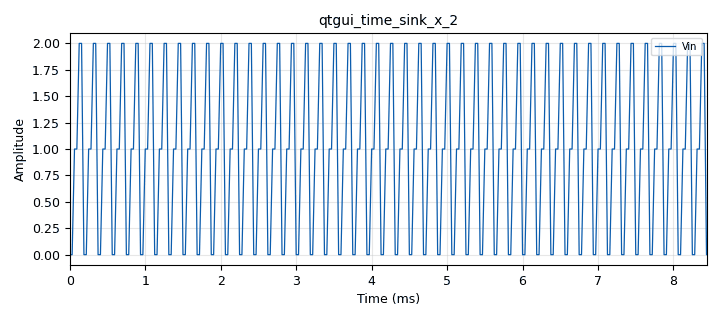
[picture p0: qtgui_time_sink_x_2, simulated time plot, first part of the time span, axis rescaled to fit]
options:
  parameters:
    generate_options: qt_gui
    id: acumulador
    output_language: python
    title: Not titled yet
  states: {}

blocks:
- name: samp_rate
  id: variable
  parameters:
    value: '32000'
  states: {}
- name: blocks_vector_source_x_0
  id: blocks_vector_source_x
  parameters:
    repeat: 'True'
    type: float
    vector: (1,1,1,1,-1,-1,-1,-1)
  states: {state: disabled}
- name: blocks_vector_source_x_1
  id: blocks_vector_source_x
  parameters:
    repeat: 'True'
    type: float
    vector: (1,1,1,1,-0,0,0,0)
  states: {state: disabled}
- name: blocks_vector_source_x_2
  id: blocks_vector_source_x
  parameters:
    repeat: 'True'
    type: float
    vector: (1,1,2,2,0,0)
  states: {}
- name: epy_block_0
  id: epy_block
  parameters:
    _source_code: "\n\nimport numpy as np\nfrom gnuradio import gr\nclass blk (gr. sync_block ):\n    def __init__ ( self ) : \n        gr. sync_block . __init__ (\n            self ,\n            name =\"e_Acum\",\n            in_sig =[ np. float32 ],\n            out_sig =[ np. float32 ]\n        )\n\n    def work (self , input_items , output_items ):\n        x = input_items [0] \n        y0 = output_items [0] \n        y0 [:] = np. cumsum (x)\n        return len (y0)"
  states: {state: disabled}
- name: epy_block_1
  id: epy_block
  parameters:
    _source_code: "import numpy as np\nfrom gnuradio import gr\n\nclass blk(gr.sync_block):\n    def __init__(self):  # Solo argumentos por defecto aquí\n        gr.sync_block.__init__(\n            self,\n            name=\"e_Diff\",  # Aparecerá en GRC\n            in_sig=[np.float32],\n            out_sig=[np.float32]\n        )\n        self.acum_anterior = 0  # Estado interno para acumulación\n\n    def work(self, input_items, output_items):\n        x = input_items[0]  # Señal de entrada\n        y0 = output_items[0]  # Señal de salida diferenciada\n        \n        diff = np.diff(np.insert(x, 0, self.acum_anterior))\n        self.acum_anterior = x[-1]  # Guardar último valor para la siguiente iteración\n        \n        y0[:len(diff)] = diff  # Copiar resultado a la salida\n        return len(diff)\n\n\n"
  states: {state: disabled}
- name: epy_block_2
  id: epy_block
  parameters:
    _source_code: |-
      import numpy as np
      from gnuradio import gr

      class blk (gr. sync_block ):

          def __init__ ( self ) : # only default arguments here
              gr. sync_block . __init__ (
                  self ,
                  name ="Promedios_de_tiempos ", # will show up in GRC
                  in_sig =[ np. float32 ],
                  out_sig =[ np. float32 ,np. float32 ,np. float32 ,np. float32 ,np. float32 ]
              )
              self . acum_anterior = 0
              self . Ntotales = 0
              self . acum_anterior1 = 0
              self . acum_anterior2 = 0
          def work (self , input_items , output_items ):
              x = input_items [0] # Senial de entrada .
              y0 = output_items [0] # Promedio de la senial
              y1 = output_items [1] # Media de la senial
              y2 = output_items [2] # RMS de la senial
              y3 = output_items [3] # Potencia promedio de la senial
              y4 = output_items [4] # Desviacion estandar de la senial
          
              # Calculo del promedio
              N = len (x)
              self . Ntotales = self . Ntotales + N
              acumulado = self . acum_anterior + np. cumsum (x)
              self . acum_anterior = acumulado [N -1]
              y0 [:]= acumulado / self . Ntotales
              
              # Calculo de la media cuadratica
              x2=np. multiply (x,x)
              acumulado1 = self . acum_anterior1 + np. cumsum (x2)
              self . acum_anterior1 = acumulado [N -1]
              y1 [:] = acumulado1 / self . Ntotales
              
              # Calculo de la RMS
              y2 [:] = np. sqrt (y1)
              
              # Calculo de la potencia promedio
              y3 [:] = np. multiply (y2 ,y2)
              
              # Calculo de la desviacion estandar
              x3 = np. multiply (x-y0 ,x-y0)
              acumulado2 = self . acum_anterior2 + np. cumsum (x3)
              self . acum_anterior2 = acumulado2 [N -1]
              y4 [:] = np. sqrt ( acumulado2 / self . Ntotales )

              return len (x)
  states: {}
- name: qtgui_number_sink_0_0
  id: qtgui_number_sink
  parameters:
    graph_type: qtgui.NUM_GRAPH_HORIZ
    name: Media
    type: float
  states: {}
- name: qtgui_number_sink_0_1
  id: qtgui_number_sink
  parameters:
    graph_type: qtgui.NUM_GRAPH_HORIZ
    name: Media cuadratica
    type: float
  states: {}
- name: qtgui_number_sink_0_2
  id: qtgui_number_sink
  parameters:
    graph_type: qtgui.NUM_GRAPH_HORIZ
    name: RMS
    type: float
  states: {}
- name: qtgui_number_sink_0_3
  id: qtgui_number_sink
  parameters:
    graph_type: qtgui.NUM_GRAPH_HORIZ
    name: Potencia promedio
    type: float
  states: {}
- name: qtgui_number_sink_0_4
  id: qtgui_number_sink
  parameters:
    graph_type: qtgui.NUM_GRAPH_HORIZ
    name: Desviacion estandar
    type: float
  states: {}
- name: qtgui_time_sink_x_0
  id: qtgui_time_sink_x
  parameters:
    label1: Vout
    label2: Vin
    nconnections: '2'
    size: '1024'
    srate: samp_rate
    type: float
  states: {state: disabled}
- name: qtgui_time_sink_x_1
  id: qtgui_time_sink_x
  parameters:
    label1: Vout
    label2: Vin
    nconnections: '2'
    size: '1024'
    srate: samp_rate
    type: float
  states: {state: disabled}
- name: qtgui_time_sink_x_2
  id: qtgui_time_sink_x
  parameters:
    label1: Vin
    size: '1024'
    srate: samp_rate
    type: float
  states: {}

connections:
- [blocks_vector_source_x_0, '0', epy_block_0, '0']
- [blocks_vector_source_x_0, '0', qtgui_time_sink_x_0, '1']
- [blocks_vector_source_x_1, '0', epy_block_1, '0']
- [blocks_vector_source_x_1, '0', qtgui_time_sink_x_1, '1']
- [blocks_vector_source_x_2, '0', epy_block_2, '0']
- [blocks_vector_source_x_2, '0', qtgui_time_sink_x_2, '0']
- [epy_block_0, '0', qtgui_time_sink_x_0, '0']
- [epy_block_1, '0', qtgui_time_sink_x_1, '0']
- [epy_block_2, '0', qtgui_number_sink_0_0, '0']
- [epy_block_2, '1', qtgui_number_sink_0_1, '0']
- [epy_block_2, '2', qtgui_number_sink_0_2, '0']
- [epy_block_2, '3', qtgui_number_sink_0_3, '0']
- [epy_block_2, '4', qtgui_number_sink_0_4, '0']

metadata:
  file_format: 1
  grc_version: v3.10.11.0-89-ga17f69e7
